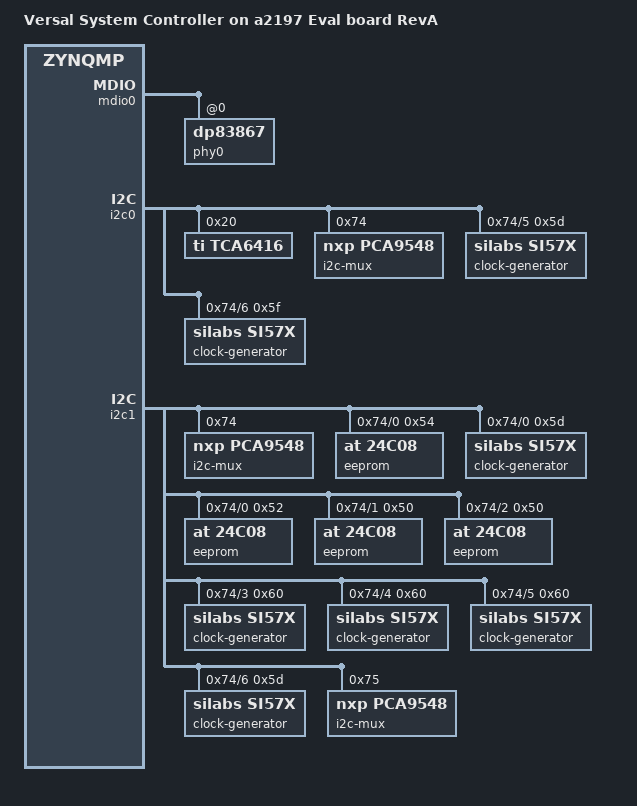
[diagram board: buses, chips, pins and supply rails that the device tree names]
/* Xilinx Versal a2197 RevA System Controller.
 *
 * Copyright (c) 2024, Advanced Micro Devices, Inc
 * All rights reserved.
 *
 * SPDX-License-Identifier: BSD-3-Clause
 */

/*
 * Attach EEPROM block devices on the command line:
 *    -blockdev node-name=<eeprom-name>,filename=<file>,driver=file
 *
 * With eeprom-name one of:
 *    - i2c1.mux-0.eeprom-52
 *    - i2c1.mux-0.eeprom-54
 *    - i2c1.mux-1.eeprom-50
 *    - i2c1.mux-2.eeprom-50
 *
 */

#define HAS_SMMU
#include "zynqmp.dtsh"

/dts-v1/;

#include "zynqmp-arm.dtsi"
#include "zynqmp-memory-regions.dtsi"
#include "zynqmp-boot-init.dtsi"

/ {
	model = "Versal System Controller on a2197 Eval board RevA";
	compatible = "xlnx,zynqmp-e-a2197-00-revA", "xlnx,zynqmp-a2197-revA", "xlnx,zynqmp-a2197", "xlnx,zynqmp";

	mdio0: mdio {
		#address-cells = <1>;
		#size-cells = <0>;
		compatible="mdio";

		phy0: phy@0 {
			compatible = "dp83867";
			device_type = "ethernet-phy";
		};
	};
};

&gem0 {
    mdio = <&mdio0>;
};

&i2c0 {
    tca6416@20 {
        compatible = "ti,tca6416";
        reg = <0x20>;
    };

    i2c-mux@74 {
        compatible = "nxp,pca9548";
        #address-cells = <1>;
        #size-cells = <0>;
        reg = <0x74>;

        i2c@0 {
            #address-cells = <1>;
            #size-cells = <0>;
            reg = <0>;

            irps5401@47 {
                compatible = "i2c-dev-dummy";
                reg = <0x47>;
            };

            irps5401@4c {
                compatible = "i2c-dev-dummy";
                reg = <0x4c>;
            };

            irps5401@4d {
                compatible = "i2c-dev-dummy";
                reg = <0x4d>;
            };
        };

        i2c@1 {
            #address-cells = <1>;
            #size-cells = <0>;
            reg = <1>;

            ina226@40 {
                compatible = "i2c-dev-dummy";
                reg = <0x40>;
            };

            ina226@41 {
                compatible = "i2c-dev-dummy";
                reg = <0x41>;
            };

            ina226@42 {
                compatible = "i2c-dev-dummy";
                reg = <0x42>;
            };

            ina226@43 {
                compatible = "i2c-dev-dummy";
                reg = <0x43>;
            };

            ina226@44 {
                compatible = "i2c-dev-dummy";
                reg = <0x44>;
            };

            ina226@45 {
                compatible = "i2c-dev-dummy";
                reg = <0x45>;
            };
        };

        i2c@2 {
            #address-cells = <0x01>;
            #size-cells = <0x00>;
            reg = <0x02>;

            clock-generator@6c {
				#clock-cells = <1>;
				compatible = "i2c-dev-dummy";
				reg = <0x6c>;
            };
        };

        i2c@3 {
            #address-cells = <0x01>;
            #size-cells = <0x00>;
            reg = <0x03>;

            ina226@40 {
                compatible = "i2c-dev-dummy";
                reg = <0x40>;
            };

            ina226@41 {
                compatible = "i2c-dev-dummy";
                reg = <0x41>;
            };

            ina226@42 {
                compatible = "i2c-dev-dummy";
                reg = <0x42>;
            };

            ina226@43 {
                compatible = "i2c-dev-dummy";
                reg = <0x43>;
            };

            ina226@44 {
                compatible = "i2c-dev-dummy";
                reg = <0x44>;
            };

            ina226@45 {
                compatible = "i2c-dev-dummy";
                reg = <0x45>;
            };

            ina226@46 {
                compatible = "i2c-dev-dummy";
                reg = <0x46>;
            };

            ina226@47 {
                compatible = "i2c-dev-dummy";
                reg = <0x47>;
            };

            ina226@48 {
                compatible = "i2c-dev-dummy";
                reg = <0x48>;
            };

            ina226@49 {
                compatible = "i2c-dev-dummy";
                reg = <0x49>;
            };

            ina226@4a {
                compatible = "i2c-dev-dummy";
                reg = <0x4a>;
            };

            ina226@4b {
                compatible = "i2c-dev-dummy";
                reg = <0x4b>;
            };

            ina226@4c {
                compatible = "i2c-dev-dummy";
                reg = <0x4c>;
            };

            ina226@4d {
                compatible = "i2c-dev-dummy";
                reg = <0x4d>;
            };
        };

        i2c@4 {
            #address-cells = <0x01>;
            #size-cells = <0x00>;
            reg = <0x04>;
        };

        i2c@5 {
            #address-cells = <0x01>;
            #size-cells = <0x00>;
            reg = <0x05>;

            clock-generator@5d {
                compatible = "silabs,si57x";
                reg = <0x5d>;
                temperature-stability = <50>;
            };
        };

        i2c@6 {
            #address-cells = <0x01>;
            #size-cells = <0x00>;
            reg = <0x06>;

            clock-generator@5f {
                compatible = "silabs,si57x";
                reg = <0x5f>;
                temperature-stability = <50>;
            };
        };

        i2c@7 {
            #address-cells = <0x01>;
            #size-cells = <0x00>;
            reg = <0x07>;
        };
    };
};

&i2c1 {
    i2c-mux@74 {
        compatible = "nxp,pca9548";
        #address-cells = <0x01>;
        #size-cells = <0x00>;
        reg = <0x74>;

        i2c@0 {
            #address-cells = <0x01>;
            #size-cells = <0x00>;
            reg = <0x00>;

            eeprom@54 {
                compatible = "at,24c08";
                reg = <0x54>;
                size = <16384>;
                blockdev-node-name = "i2c1.mux-0.eeprom-54";
            };

            clock-generator@5d {
                compatible = "silabs,si57x";
                reg = <0x5d>;
                temperature-stability = <50>;
            };

            eeprom@52 {
                compatible = "at,24c08";
                reg = <0x52>;
                size = <16384>;
                blockdev-node-name = "i2c1.mux-0.eeprom-52";
            };
        };

        i2c@1 {
            #address-cells = <0x01>;
            #size-cells = <0x00>;
            reg = <0x01>;

            eeprom@50 {
                compatible = "at,24c08";
                reg = <0x50>;
                size = <16384>;
                blockdev-node-name = "i2c1.mux-1.eeprom-50";
            };
        };

        i2c@2 {
            #address-cells = <0x01>;
            #size-cells = <0x00>;
            reg = <0x02>;

            eeprom@50 {
                compatible = "at,24c08";
                reg = <0x50>;
                size = <16384>;
                blockdev-node-name = "i2c1.mux-2.eeprom-50";
            };
        };

        i2c@3 {
            #address-cells = <0x01>;
            #size-cells = <0x00>;
            reg = <0x03>;

            clock-generator@60 {
                compatible = "silabs,si57x";
                reg = <0x60>;
                temperature-stability = <50>;
            };
        };

        i2c@4 {
            #address-cells = <0x01>;
            #size-cells = <0x00>;
            reg = <0x04>;

            clock-generator@60 {
                compatible = "silabs,si57x";
                reg = <0x60>;
                temperature-stability = <50>;
            };
        };

        i2c@5 {
            #address-cells = <0x01>;
            #size-cells = <0x00>;
            reg = <0x05>;

            clock-generator@60 {
                compatible = "silabs,si57x";
                reg = <0x60>;
                temperature-stability = <50>;
            };
        };

        i2c@6 {
            #address-cells = <0x01>;
            #size-cells = <0x00>;
            reg = <0x06>;

            clock-generator@5d {
                compatible = "silabs,si57x";
                reg = <0x5d>;
                temperature-stability = <50>;
            };
        };

        i2c@7 {
            #address-cells = <0x01>;
            #size-cells = <0x00>;
            reg = <0x07>;
        };
    };

    i2c-mux@75 {
        compatible = "nxp,pca9548";
        #address-cells = <0x01>;
        #size-cells = <0x00>;
        reg = <0x75>;

        i2c@0 {
            #address-cells = <0x01>;
            #size-cells = <0x00>;
            reg = <0x00>;
        };

        i2c@1 {
            #address-cells = <0x01>;
            #size-cells = <0x00>;
            reg = <0x01>;
        };

        i2c@2 {
            #address-cells = <0x01>;
            #size-cells = <0x00>;
            reg = <0x02>;
        };
    };
};
